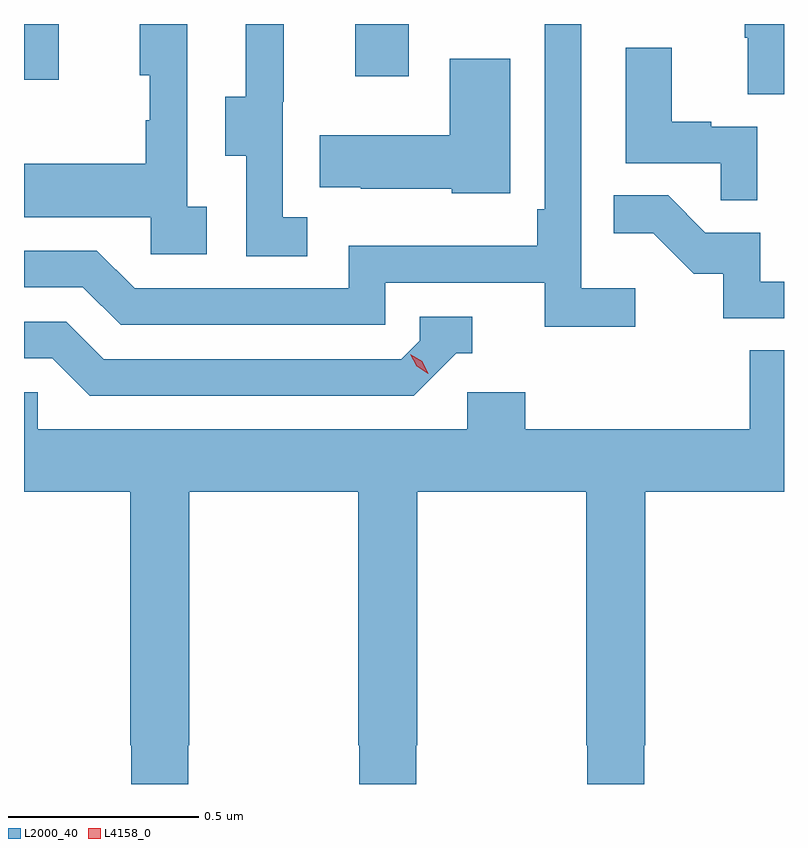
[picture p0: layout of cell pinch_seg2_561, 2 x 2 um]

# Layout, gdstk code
import gdstk
lib = gdstk.Library(unit=1e-6, precision=1e-09)
def R(c, l, rs):  # rectangles x0, y0, x1, y1
    for r in rs: c.add(gdstk.rectangle(r[:2], r[2:], *l))
def P(c, l, *ps):  # polygons
    for p in ps: c.add(gdstk.Polygon(p, *l))
L2000_40 = (2000, 40)
L4158_0 = (4158, 0)

pinch_seg2_561 = lib.new_cell('pinch_seg2_561')
R(pinch_seg2_561, L2000_40, [(1092.183,611.424,1092.275,611.571), (1093.055,611.433,1093.195,611.571)])
P(pinch_seg2_561, L2000_40, [(1093.792,610.876),(1093.65,610.876),(1093.65,611.571),(1093.554,611.571),(1093.554,611.083),(1093.534,611.083),(1093.534,610.987),(1093.038,610.987),(1093.038,610.875),(1092.474,610.875),(1092.375,610.974),(1092.183,610.974),(1092.183,610.878),(1092.338,610.878),(1092.437,610.779),(1093.134,610.779),(1093.134,610.89),(1093.553,610.89),(1093.553,610.774),(1093.792,610.774)],
  [(1092.664,611.09),(1092.612,611.09),(1092.612,611.571),(1092.488,611.571),(1092.488,611.436),(1092.514,611.436),(1092.514,611.318),(1092.504,611.318),(1092.504,611.203),(1092.183,611.203),(1092.183,611.063),(1092.516,611.063),(1092.516,610.965),(1092.664,610.965)],
  [(1092.928,611.063),(1092.864,611.063),(1092.864,611.367),(1092.866,611.367),(1092.866,611.571),(1092.767,611.571),(1092.767,611.379),(1092.713,611.379),(1092.713,611.224),(1092.768,611.224),(1092.768,610.96),(1092.928,610.96)],
  [(1094.183,611.571),(1094.08,611.571),(1094.08,611.535),(1094.087,611.535),(1094.087,611.386),(1094.183,611.386)],
  [(1094.112,611.301),(1093.991,611.301),(1093.991,611.314),(1093.888,611.314),(1093.888,611.509),(1093.766,611.509),(1093.766,611.205),(1094.017,611.205),(1094.017,611.107),(1094.112,611.107)],
  [(1093.462,611.479),(1093.304,611.479),(1093.304,611.278),(1092.961,611.278),(1092.961,611.141),(1093.069,611.141),(1093.069,611.138),(1093.308,611.138),(1093.308,611.126),(1093.462,611.126)],
  [(1094.183,610.893),(1094.121,610.893),(1094.121,611.022),(1093.976,611.022),(1093.878,611.12),(1093.735,611.12),(1093.735,611.021),(1093.839,611.021),(1093.946,610.914),(1094.023,610.914),(1094.023,610.797),(1094.183,610.797)],
  [(1093.32,610.704),(1093.363,610.704),(1093.363,610.8),(1093.224,610.8),(1093.224,610.737),(1093.176,610.689),(1092.393,610.689),(1092.294,610.788),(1092.183,610.788),(1092.183,610.692),(1092.257,610.692),(1092.356,610.593),(1093.209,610.593)],
  [(1092.219,610.602),(1092.183,610.602),(1092.183,610.34),(1092.463,610.34),(1092.463,609.673),(1092.465,609.673),(1092.465,609.571),(1092.615,609.571),(1092.615,609.673),(1092.618,609.673),(1092.618,610.34),(1093.063,610.34),(1093.063,609.673),(1093.065,609.673),(1093.065,609.571),(1093.215,609.571),(1093.215,609.673),(1093.218,609.673),(1093.218,610.34),(1093.663,610.34),(1093.663,609.673),(1093.665,609.673),(1093.665,609.571),(1093.815,609.571),(1093.815,609.673),(1093.818,609.673),(1093.818,610.34),(1094.183,610.34),(1094.183,610.712),(1094.093,610.712),(1094.093,610.504),(1093.502,610.504),(1093.502,610.602),(1093.35,610.602),(1093.35,610.504),(1092.219,610.504)])
P(pinch_seg2_561, L4158_0, [(1093.247,610.651),(1093.216,610.67),(1093.199,610.702),(1093.199,610.702),(1093.199,610.702),(1093.231,610.684),(1093.247,610.652),(1093.247,610.651)])

lib.write_gds('pinch_seg2_561.gds')
